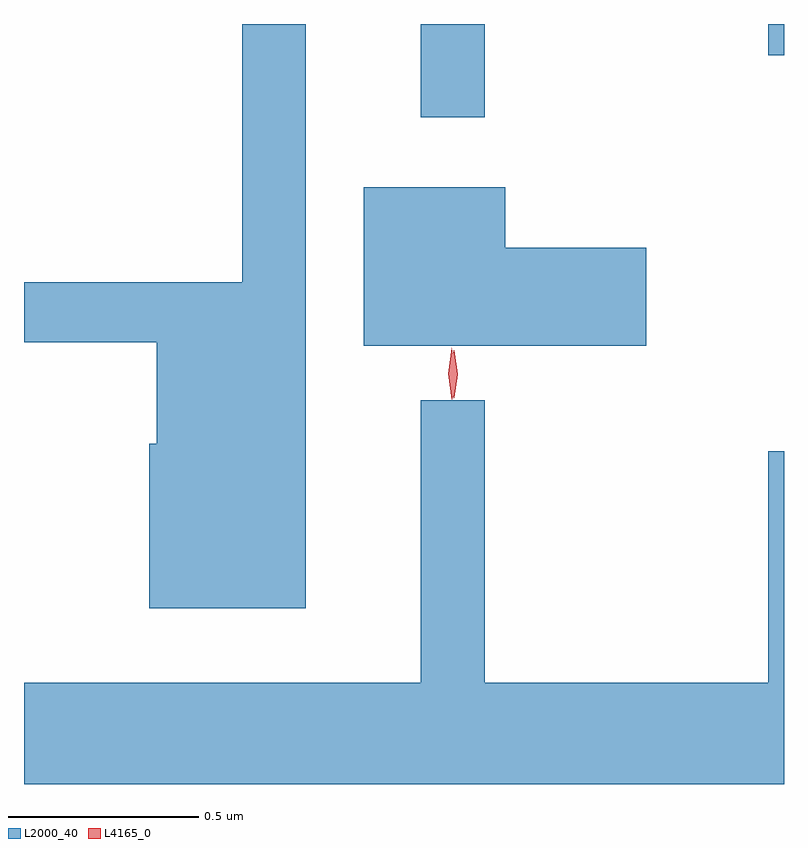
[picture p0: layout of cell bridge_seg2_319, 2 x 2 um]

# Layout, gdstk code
import gdstk
lib = gdstk.Library(unit=1e-6, precision=1e-09)
def R(c, l, rs):  # rectangles x0, y0, x1, y1
    for r in rs: c.add(gdstk.rectangle(r[:2], r[2:], *l))
def P(c, l, *ps):  # polygons
    for p in ps: c.add(gdstk.Polygon(p, *l))
L2000_40 = (2000, 40)
L4165_0 = (4165, 0)

bridge_seg2_319 = lib.new_cell('bridge_seg2_319')
R(bridge_seg2_319, L2000_40, [(433.941,1063.393,434.109,1063.638), (434.856,1063.556,434.897,1063.638)])
P(bridge_seg2_319, L2000_40, [(433.639,1063.638),(433.471,1063.638),(433.471,1062.959),(432.897,1062.959),(432.897,1062.801),(433.246,1062.801),(433.246,1062.534),(433.226,1062.534),(433.226,1062.101),(433.639,1062.101)],
  [(434.534,1063.049),(434.164,1063.049),(434.164,1063.209),(433.791,1063.209),(433.791,1062.791),(434.534,1062.791)],
  [(434.897,1062.514),(434.856,1062.514),(434.856,1061.904),(434.109,1061.904),(434.109,1062.648),(433.941,1062.648),(433.941,1061.904),(432.897,1061.904),(432.897,1061.638),(434.897,1061.638)])
P(bridge_seg2_319, L4165_0, [(434.023,1062.65),(434.023,1062.65),(434.013,1062.718),(434.022,1062.785),(434.022,1062.786),(434.023,1062.785),(434.033,1062.718),(434.024,1062.65)],
  [(434.028,1062.653),(434.028,1062.654),(434.018,1062.716),(434.028,1062.78),(434.028,1062.78),(434.029,1062.78),(434.038,1062.716),(434.029,1062.654)])

lib.write_gds('bridge_seg2_319.gds')
